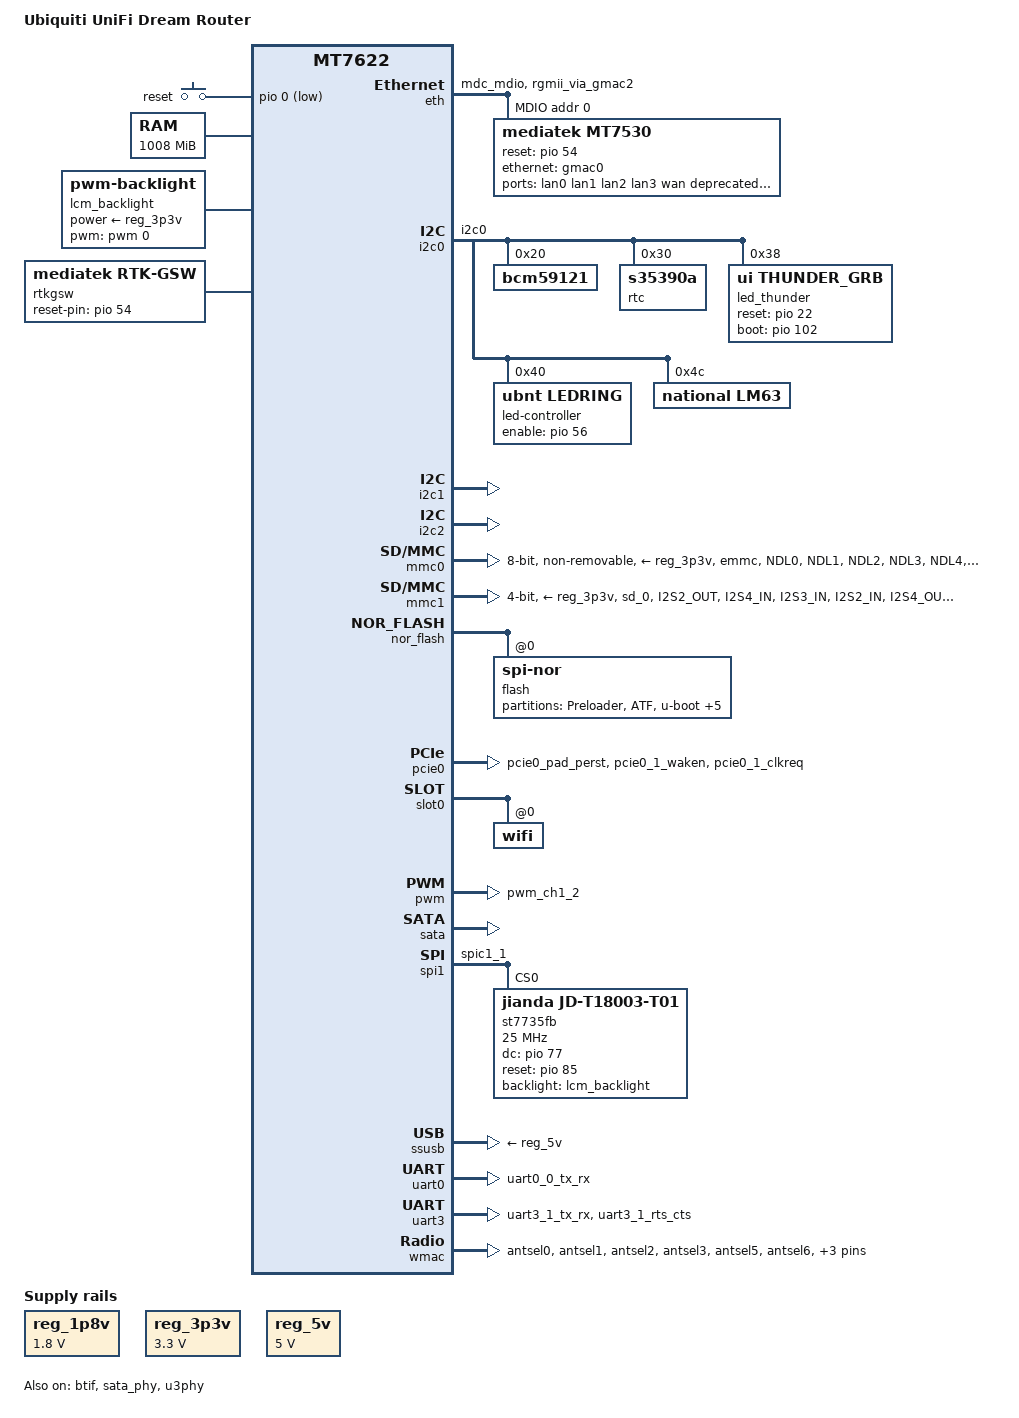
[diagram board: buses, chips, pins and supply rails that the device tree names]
// SPDX-License-Identifier: GPL-2.0-or-later OR MIT

/dts-v1/;
#include <dt-bindings/input/input.h>
#include <dt-bindings/gpio/gpio.h>
#include <dt-bindings/leds/common.h>

#include "mt7622.dtsi"
#include "mt6380.dtsi"

/ {
	model = "Ubiquiti UniFi Dream Router";
	compatible = "ubnt,unifi-udr", "mediatek,mt7622";

	aliases {
		// led-boot = &led_blue;
		// led-failsafe = &led_blue;
		// led-running = &led_blue;
		// led-upgrade = &led_blue;
		label-mac-device = &gmac0;
		serial0 = &uart0;
	};

	chosen {
		stdout-path = "serial0:115200n8";
		bootargs = "console=ttyS0,115200n1 loglevel=8 swiotlb=512 earlyprintk";
	};

	cpus {
		cpu@0 {
			proc-supply = <&mt6380_vcpu_reg>;
			sram-supply = <&mt6380_vm_reg>;
		};

		cpu@1 {
			proc-supply = <&mt6380_vcpu_reg>;
			sram-supply = <&mt6380_vm_reg>;
		};
	};

	gpio-keys {
		compatible = "gpio-keys";

		reset {
			label = "reset";
			linux,code = <KEY_RESTART>;
			gpios = <&pio 0 GPIO_ACTIVE_LOW>; /* GPIO_A */
		};
	};

	memory {
		reg = <0 0x40000000 0 0x3f000000>;
	};

	lcm_backlight: backlight {
		compatible = "pwm-backlight";
		pwms = <&pwm 0 4000>;
		brightness-levels = <0 1 2 3 4 5 6 7 8 9 10>;
		default-brightness-level = <8>;
		power-supply = <&reg_3p3v>;
	};

	reg_1p8v: regulator-1p8v {
		compatible = "regulator-fixed";
		regulator-name = "fixed-1.8V";
		regulator-min-microvolt = <1800000>;
		regulator-max-microvolt = <1800000>;
		regulator-always-on;
	};

	reg_3p3v: regulator-3p3v {
		compatible = "regulator-fixed";
		regulator-name = "fixed-3.3V";
		regulator-min-microvolt = <3300000>;
		regulator-max-microvolt = <3300000>;
		regulator-boot-on;
		regulator-always-on;
	};

	reg_5v: regulator-5v {
		compatible = "regulator-fixed";
		regulator-name = "fixed-5V";
		regulator-min-microvolt = <5000000>;
		regulator-max-microvolt = <5000000>;
		regulator-boot-on;
		regulator-always-on;
	};

	rtkgsw: rtkgsw@0 {
		compatible = "mediatek,rtk-gsw";
		mediatek,ethsys = <&ethsys>;
		mediatek,mdio = <&mdio>;
		mediatek,reset-pin = <&pio 54 0>;
	};

	poe_dev_0: bcm59121@20 {
		compatible = "bcm59121";
		reg = <0x20>;
		bus = <0>;
	};

	ubnthal {
		compatible = "udapi, ubnthal";
		poe {
			ports {
				port@2 {
					reg = <2>;
					dev = <&poe_dev_0 1>;
				};
				port@3 {
					reg = <3>;
					dev = <&poe_dev_0 0>;
				};
			};
		};
	};

};

&bch {
	status = "disabled";
};

&btif {
	status = "okay";
};

&efuse {
	svs_calibration: calib@180 {
		reg = <0x180 0x8>;
	};
};

&eth {
	status = "okay";
	pinctrl-names = "default";
	pinctrl-0 = <&eth_pins>;

	gmac0: mac@0 {
		compatible = "mediatek,eth-mac";
		reg = <0>;
		phy-mode = "sgmii";

		fixed-link {
			speed = <1000>;
			full-duplex;
			pause;
		};
	};

	mdio: mdio-bus {
		#address-cells = <1>;
		#size-cells = <0>;

		mt7530: switch@0 {
			compatible = "mediatek,mt7530";
			reg = <0>;
			reset-gpios = <&pio 54 0>;

			ports {
				#address-cells = <1>;
				#size-cells = <0>;

				port@0 {
					reg = <0>;
					label = "lan0";
				};

				port@1 {
					reg = <1>;
					label = "lan1";
				};

				port@2 {
					reg = <2>;
					label = "lan2";
				};

				port@3 {
					reg = <3>;
					label = "lan3";
				};

				port@4 {
					reg = <4>;
					label = "wan";
				};

				port@5 {
					reg = <6>;
					label = "deprecated";
					phy-mode = "sgmii";

					fixed-link {
						speed = <2500>;
						full-duplex;
						pause;
					};
				};

				port@6 {
					reg = <6>;
					label = "cpu";
					ethernet = <&gmac0>;
					phy-mode = "sgmii";

					fixed-link {
						speed = <2500>;
						full-duplex;
						pause;
					};
				};

				/*
				 * This is the PPD port for hwnat, which is
				 * not yet supported in mainline.
				 */
				/* port@7 {
				 	reg = <7>;
				 	label = "ppd";
				 	phy-mode = "gmii";

				 	fixed-link {
				 		speed = <1000>;
				 		full-duplex;
				 		pause;
				 	};
				}; */
			};
		};
	};
};

&i2c0 {
	pinctrl-names = "default";
	pinctrl-0 = <&i2c0_pins>;
	status = "okay";

	bcm59121@20 {
		compatible = "bcm59121";
		reg = <0x20>;
		en-gpio = <479>; /* GPIO70 */
		/* irq-gpio = <478>; */
		/* 2-channels-per-port; */
	};

	rtc@30 {
		compatible = "s35390a";
		reg = <0x30>;
	};

	led_thunder@38 {
		compatible = "ui,thunder_grb";
		reg = <0x38>;
		num_leds = <8>;
		/* default_color = <0x00ff00>; */
		skip-init-reset = <1>;
		reset-gpios = <&pio 22 0>; /* GPIO_B */
		boot-gpios = <&pio 102 0>; /* GPIO_E */
	};

	led-controller@40 {
		compatible = "ubnt,ledring";
		reg = <0x40>;
		num_leds = <8>;

		enable-gpios = <&pio 56 0>; /* GPIO56 */
	};

	lm63: lm63@4c {
		compatible = "national,lm63";
		reg = <0x4c>;
		tachometer-en;
		pwm-active-low;
	};
};

&i2c1 {
	status = "okay";
};

&i2c2 {
	status = "okay";
};

&mmc0 {
	pinctrl-names = "default", "state_uhs";
	pinctrl-0 = <&emmc_pins_default>;
	pinctrl-1 = <&emmc_pins_uhs>;
	status = "okay";
	bus-width = <8>;
	max-frequency = <50000000>;
	cap-mmc-highspeed;
	mmc-hs200-1_8v;
	vmmc-supply = <&reg_3p3v>;
	vqmmc-supply = <&reg_1p8v>;
	non-removable;
};

&mmc1 {
	pinctrl-names = "default", "state_uhs";
	pinctrl-0 = <&sd0_pins_default>;
	pinctrl-1 = <&sd0_pins_uhs>;
	status = "okay";
	bus-width = <4>;
	max-frequency = <50000000>;
	cap-sd-highspeed;
	r_smpl = <1>;
	cd-gpios = <&pio 81 GPIO_ACTIVE_LOW>;
	vmmc-supply = <&reg_3p3v>;
	vqmmc-supply = <&reg_3p3v>;
	assigned-clocks = <&topckgen CLK_TOP_MSDC30_1_SEL>;
	assigned-clock-parents = <&topckgen CLK_TOP_UNIV48M>;
};

&nor_flash {
	status = "okay";
	#address-cells = <1>;
	#size-cells = <1>;

	flash@0 {
		compatible = "jedec,spi-nor";
		#address-cells = <1>;
		#size-cells = <1>;
		partition@0 {
			label = "Preloader";
			reg = <0x00000000 0x00040000>;
		};
		partition@1 {
			label = "ATF";
			reg = <0x00040000 0x00020000>;
		};
		partition@2 {
			label = "u-boot";
			reg = <0x00060000 0x00160000>;
		};
		partition@3 {
			label = "u-boot-env";
			reg = <0x001C0000 0x00010000>;
		};
		partition@4 {
			label = "u-boot-env-2";
			reg = <0x001D0000 0x00010000>;
		};
		factory: partition@5 {
			label = "Factory";
			reg = <0x001E0000 0x00040000>;
		};
		eeprom: partition@6 {
			label = "EEPROM";
			reg = <0x00220000 0x00010000>;
		};
		partition@7 {
			label = "config";
			reg = <0x00230000 0x005D0000>;
		};
	};
};

&pcie0 {
	pinctrl-names = "default";
	pinctrl-0 = <&pcie0_pins>;
	status = "okay";
};

&slot0 {
	wifi@0,0 {
		reg = <0x0 0 0 0 0>;
		mediatek,mtd-eeprom = <&factory 0x20000>;
		nvmem-cells = <&macaddr_eeprom_6>;
		nvmem-cell-names = "mac-address";
		ieee80211-freq-limit = <5000000 6000000>;
	};
};

&pcie1 {
	status = "disabled";
};

&pio {
	i2s1_pins: i2s1-pins {
		mux {
			function = "i2s";
			groups =  "i2s_out_mclk_bclk_ws",
				  "i2s1_in_data",
				  "i2s1_out_data";
		};

		conf {
			pins = "I2S1_IN", "I2S1_OUT", "I2S_BCLK",
			       "I2S_WS", "I2S_MCLK";
			drive-strength = <12>;
			bias-pull-down;
		};
	};

	i2c0_pins: i2c0-pins {
		mux {
			function = "i2c";
			groups =  "i2c0";
		};
	};

	emmc_pins_default: emmc-pins-default {
		mux {
			function = "emmc", "emmc_rst";
			groups = "emmc";
		};

		/* "NDL0","NDL1","NDL2","NDL3","NDL4","NDL5","NDL6","NDL7",
		 * "NRB","NCLE" pins are used as DAT0,DAT1,DAT2,DAT3,DAT4,
		 * DAT5,DAT6,DAT7,CMD,CLK for eMMC respectively
		 */
		conf-cmd-dat {
			pins = "NDL0", "NDL1", "NDL2",
			       "NDL3", "NDL4", "NDL5",
			       "NDL6", "NDL7", "NRB";
			input-enable;
			bias-pull-up;
		};

		conf-clk {
			pins = "NCLE";
			bias-pull-down;
		};
	};

	emmc_pins_uhs: emmc-pins-uhs {
		mux {
			function = "emmc";
			groups = "emmc";
		};

		conf-cmd-dat {
			pins = "NDL0", "NDL1", "NDL2",
			       "NDL3", "NDL4", "NDL5",
			       "NDL6", "NDL7", "NRB";
			input-enable;
			drive-strength = <4>;
			bias-pull-up;
		};

		conf-clk {
			pins = "NCLE";
			drive-strength = <4>;
			bias-pull-down;
		};
	};

	sd0_pins_default: sd0-pins-default {
		mux {
			function = "sd";
			groups = "sd_0";
		};

		/* "I2S2_OUT, "I2S4_IN"", "I2S3_IN", "I2S2_IN",
		 *  "I2S4_OUT", "I2S3_OUT" are used as DAT0, DAT1,
		 *  DAT2, DAT3, CMD, CLK for SD respectively.
		 */
		conf-cmd-data {
			pins = "I2S2_OUT", "I2S4_IN", "I2S3_IN",
			       "I2S2_IN","I2S4_OUT";
			input-enable;
			drive-strength = <8>;
			bias-pull-up;
		};
		conf-clk {
			pins = "I2S3_OUT";
			drive-strength = <12>;
			bias-pull-down;
		};
		conf-cd {
			pins = "TXD3";
			bias-pull-up;
		};
	};

	sd0_pins_uhs: sd0-pins-uhs {
		mux {
			function = "sd";
			groups = "sd_0";
		};

		conf-cmd-data {
			pins = "I2S2_OUT", "I2S4_IN", "I2S3_IN",
			       "I2S2_IN","I2S4_OUT";
			input-enable;
			bias-pull-up;
		};

		conf-clk {
			pins = "I2S3_OUT";
			bias-pull-down;
		};
	};

	pmic_bus_pins: pmic-bus-pins {
		mux {
			function = "pmic";
			groups = "pmic_bus";
		};
	};

	epa_elna_pins: epa-elna-pins {
		mux {
			function = "antsel";
			groups = "antsel0", "antsel1", "antsel2",
				 "antsel3", "antsel5", "antsel6",
				 "antsel7", "antsel8", "antsel9";
		};
	};

	eth_pins: eth-pins {
		mux {
			function = "eth";
			groups = "mdc_mdio", "rgmii_via_gmac2";
		};
	};

	uart0_pins: uart0-pins {
		mux {
			function = "uart";
			groups = "uart0_0_tx_rx" ;
		};
	};

	uart3_pins: uart3-pins {
		mux {
			function = "uart";
			groups = "uart3_1_tx_rx",
				 "uart3_1_rts_cts";
		};
	};

	spic1_pins: spic1-pins {
		mux {
			function = "spi";
			groups = "spic1_1";
		};
	};

	pcie0_pins: pcie0-pins {
		mux {
			function = "pcie";
			groups = "pcie0_pad_perst",
				 "pcie0_1_waken",
				 "pcie0_1_clkreq";
		};
	};

	pwm0_pins: pwm0_pins {
		mux {
			function = "pwm";
			groups = "pwm_ch1_2"; /* Display backlight */
			output-low;
		};
	};
};

&pwm {
	pinctrl-names = "default";
	pinctrl-0 = <&pwm0_pins>;
};

&pwrap {
	pinctrl-names = "default";
	pinctrl-0 = <&pmic_bus_pins>;

	status = "okay";
};

&sata {
	status = "okay";
};

&sata_phy {
	status = "okay";
};

&spi1 {
	pinctrl-names = "default";
	pinctrl-0 = <&spic1_pins>;
	status = "okay";
	st7735fb: display@0 {
		compatible = "jianda,jd-t18003-t01", "sitronix,st7735r";
		reg = <0>;
		spi-max-frequency = <25000000>;
		dc-gpios = <&pio 77 GPIO_ACTIVE_HIGH>; // gpio 77
		reset-gpios = <&pio 85 GPIO_ACTIVE_HIGH>;
		backlight = <&lcm_backlight>;
	};
};

&ssusb {
	vusb33-supply = <&reg_3p3v>;
	vbus-supply = <&reg_5v>;
	status = "okay";
};

&u3phy {
	status = "okay";
};

&thermal {
	vproc-supply = <&mt6380_vcpu_reg>;
};

&uart0 {
	pinctrl-names = "default";
	pinctrl-0 = <&uart0_pins>;
	status = "okay";
};

&uart3 {
	pinctrl-names = "default";
	pinctrl-0 = <&uart3_pins>;
	status = "okay";
};

&wmac {
	pinctrl-names = "default";
	pinctrl-0 = <&epa_elna_pins>;
	mediatek,mtd-eeprom = <&factory 0x0>;
	status = "okay";
};

&gmac0 {
	nvmem-cells = <&macaddr_eeprom_0>;
	nvmem-cell-names = "mac-address";
};

&eeprom {
	compatible = "nvmem-cells";
	#address-cells = <1>;
	#size-cells = <1>;

	macaddr_eeprom_0: macaddr@0 {
		reg = <0x0 0x6>;
	};

	macaddr_eeprom_6: macaddr@6 {
		reg = <0x6 0x6>;
	};
};
